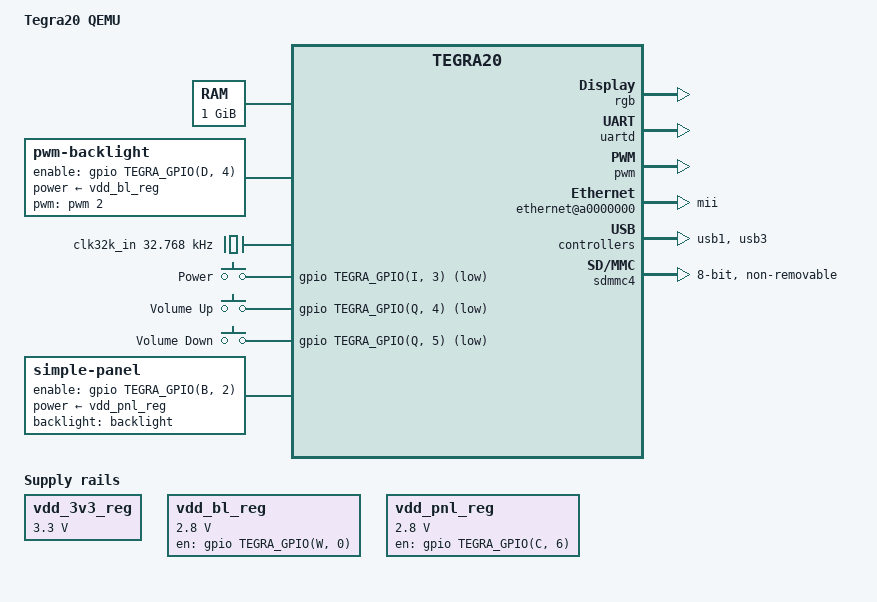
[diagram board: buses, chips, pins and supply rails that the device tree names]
// SPDX-License-Identifier: GPL-2.0
/dts-v1/;

// /memreserve/ 0x2E600000 0x11A00000; /* for Tegra2VDE-reTool */

#include <dt-bindings/input/input.h>
#include "tegra20.dtsi"

/ {
	model = "Tegra20 QEMU";
	compatible = "grate,qemu", "nvidia,tegra20";

	chosen {
		stdout-path = &uartd;
	};

	aliases {
		mmc0 = &sdmmc4;

		rtc0 = "/rtc@7000e000";

		usb0 = &usb1;
		usb2 = &usb3;
	};

	memory {
		device_type = "memory";
		reg = <0x00000000 0x40000000>;
	};

	host1x@50000000 {
		dc@54200000 {
			rgb {
				status = "okay";

				nvidia,panel = <&panel>;
			};
		};
	};

	uartd: serial@70006300 {
		status = "okay";
	};

	pwm: pwm@7000a000 {
		status = "okay";
	};

	ethernet@a0000000 {
		compatible = "smsc,lan9118", "smsc,lan9115";
		reg = <0xa0000000 0x10000>;
		interrupts = <GIC_SPI 95 IRQ_TYPE_LEVEL_HIGH>;
		phy-mode = "mii";
		reg-io-width = <4>;
		smsc,irq-active-high;
		smsc,irq-push-pull;
		vdd33a-supply = <&vdd_3v3_reg>;
		vddvario-supply = <&vdd_3v3_reg>;
	};

	usb1: usb@c5000000 {
		status = "okay";
	};

	usb3: usb@c5008000 {
		status = "okay";
	};

	sdmmc4: sdhci@c8000600 {
		status = "okay";
		bus-width = <8>;
		non-removable;
	};

	backlight: backlight {
		compatible = "pwm-backlight";

		enable-gpios = <&gpio TEGRA_GPIO(D, 4) GPIO_ACTIVE_HIGH>;
		power-supply = <&vdd_bl_reg>;
		pwms = <&pwm 2 5000000>;

		brightness-levels = <1 35 70 105 140 175 210 255>;
		default-brightness-level = <5>;
	};

	clk32k_in: clock-32k-in {
		compatible = "fixed-clock";
		#clock-cells = <0>;
		clock-frequency = <32768>;
		clock-output-names = "ref-oscillator";
	};

	gpio-keys {
		compatible = "gpio-keys";

		key-power {
			label = "Power";
			gpios = <&gpio TEGRA_GPIO(I, 3) GPIO_ACTIVE_LOW>;
			linux,code = <KEY_ENTER>;
		};

		key-volume-up {
			label = "Volume Up";
			gpios = <&gpio TEGRA_GPIO(Q, 4) GPIO_ACTIVE_LOW>;
			linux,code = <KEY_UP>;
		};

		key-volume-down {
			label = "Volume Down";
			gpios = <&gpio TEGRA_GPIO(Q, 5) GPIO_ACTIVE_LOW>;
			linux,code = <KEY_DOWN>;
		};
	};

	panel: panel {
		compatible = "simple-panel";

		power-supply = <&vdd_pnl_reg>;
		enable-gpios = <&gpio TEGRA_GPIO(B, 2) GPIO_ACTIVE_HIGH>;

		backlight = <&backlight>;

		display-timings {
			timing@0 {
				clock-frequency = <72000000>;

				hactive = <1366>;
				hfront-porch = <58>;
				hback-porch = <58>;
				hsync-len = <58>;

				vactive = <768>;
				vfront-porch = <4>;
				vback-porch = <4>;
				vsync-len = <4>;
			};
		};
	};

	vdd_3v3_reg: regulator-3v3 {
		compatible = "regulator-fixed";
		regulator-name = "vdd_3v3_vs";
		regulator-min-microvolt = <3300000>;
		regulator-max-microvolt = <3300000>;
		regulator-always-on;
	};

	vdd_bl_reg: regulator-bl {
		compatible = "regulator-fixed";
		regulator-name = "vdd_backlight";
		regulator-min-microvolt = <2800000>;
		regulator-max-microvolt = <2800000>;
		gpio = <&gpio TEGRA_GPIO(W, 0) GPIO_ACTIVE_HIGH>;
		enable-active-high;
	};

	vdd_pnl_reg: regulator-pnl {
		compatible = "regulator-fixed";
		regulator-name = "vdd_panel";
		regulator-min-microvolt = <2800000>;
		regulator-max-microvolt = <2800000>;
		gpio = <&gpio TEGRA_GPIO(C, 6) GPIO_ACTIVE_HIGH>;
		enable-active-high;
	};
};
